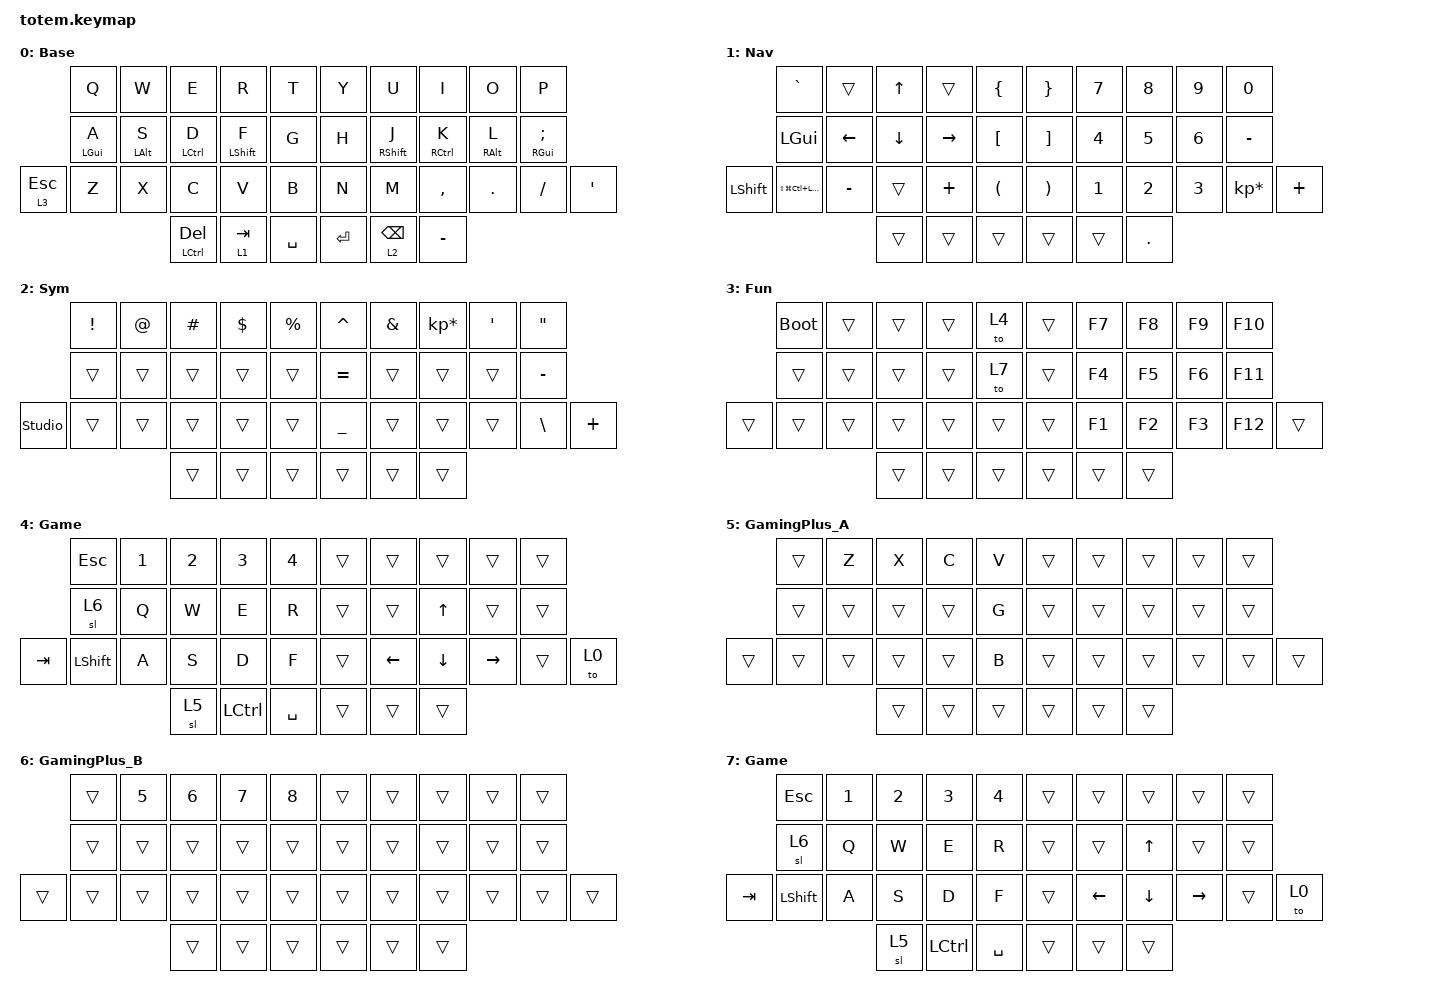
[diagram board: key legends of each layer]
//
//                                                        ▀▀▀▀▀     ▀▀▀▀▀          ▀▀█▀▀
//                                                        ▄▀▀▀▄  ▄  ▄▀▀▀▄  ▄  ▄▀▀▀▄  █  ▄▀▀▀▄
//                                                        █   █  █  █   █  █  █   █  █  █   █
//                                                         ▀▀▀   █   ▀▀▀   █   ▀▀▀   ▀   ▀▀▀
//                                                               █      ▄▄▄█▄▄▄    █   █  
//                                                               ▀      █  █  █     █▄█
//                                                             ▀▀▀▀▀    █  █  █      ▀
//                                                                      ▀  ▀  ▀
//
// ▄▄▄▄▄▄▄▄▄▄▄▄▄▄▄▄▄▄▄▄▄▄▄▄▄▄▄▄▄▄▄▄▄▄▄▄▄▄▄▄▄▄▄▄▄▄▄▄▄▄▄▄▄▄▄▄▄▄▄▄▄▄▄▄▄▄▄▄▄▄▄▄▄▄▄▄▄▄▄▄▄▄▄▄▄▄▄▄▄▄▄▄▄▄▄▄▄▄▄▄▄▄▄▄▄▄▄▄▄▄▄▄▄▄▄▄▄▄▄▄▄▄▄▄▄▄▄▄▄▄▄▄▄▄▄▄▄▄▄▄▄▄▄▄▄▄▄▄▄

#include <behaviors.dtsi>
#include <dt-bindings/zmk/keys.h>

#define Base        0
#define Nav         1
#define Sym         2
#define Fun         3
#define Game        4
#define Gameplus    5

&mt {
    quick-tap-ms = <100>;
    global-quick-tap;
    flavor = "tap-preferred";
    tapping-term-ms = <170>;
};

&lt {
    tapping-term-ms = <240>;
    flavor = "balanced";
    quick-tap-ms = <150>;
};

/ {
    behaviors {
        hm: homerow_mods {
            compatible = "zmk,behavior-hold-tap";
            label = "HOMEROW_MODS";
            #binding-cells = <2>;
            flavor = "tap-preferred";
            tapping-term-ms = <200>;
            quick-tap-ms = <125>;
            global-quick-tap;
            bindings = <&kp>, <&kp>;
        };
    };

    combos { compatible = "zmk,combos"; };

    keymap {
        compatible = "zmk,keymap";

        Base {
            display-name = "Base";
            bindings = <
              &kp Q       &kp W       &kp E          &kp R         &kp T        &kp Y    &kp U        &kp I        &kp O       &kp P
              &hm LGUI A  &hm LALT S  &hm LCTRL D    &hm LSHIFT F  &kp G        &kp H    &hm RSHFT J  &hm RCTRL K  &hm RALT L  &hm RGUI SEMICOLON
&lt 3 ESCAPE  &kp Z       &kp X       &kp C          &kp V         &kp B        &kp N    &kp M        &kp COMMA    &kp DOT     &kp SLASH           &kp APOSTROPHE
                                      &mt LCTRL DEL  &lt 1 TAB     &kp SPACE    &kp RET  &lt 2 BSPC   &kp MINUS
            >;
        };

        Nav {
            display-name = "Nav";
            bindings = <
                &kp GRAVE                     &trans     &kp UP_ARROW  &trans     &kp LBRC    &kp RBRC  &kp NUMBER_7  &kp NUMBER_8  &kp NUMBER_9  &kp NUMBER_0
                &kp LEFT_GUI                  &kp LEFT   &kp DOWN      &kp RIGHT  &kp LBKT    &kp RBKT  &kp NUMBER_4  &kp NUMBER_5  &kp NUMBER_6  &kp MINUS
&kp LEFT_SHIFT  &kp LS(LG(LC(LEFT_CONTROL)))  &kp MINUS  &trans        &kp PLUS   &kp LPAR    &kp RPAR  &kp NUMBER_1  &kp NUMBER_2  &kp NUMBER_3  &kp KP_MULTIPLY  &kp PLUS
                                                         &trans        &trans     &trans      &trans    &trans        &kp DOT
            >;
        };

        Sym {
            display-name = "Sym";
            bindings = <
                &kp EXCL  &kp AT  &kp HASH  &kp DOLLAR  &kp PERCENT    &kp CARET  &kp AMPERSAND  &kp KP_ASTERISK  &kp SQT  &kp DQT
                &trans    &trans  &trans    &trans      &trans         &kp EQUAL  &trans         &trans           &trans   &kp MINUS
&studio_unlock  &trans    &trans  &trans    &trans      &trans         &kp UNDER  &trans         &trans           &trans   &kp BACKSLASH  &kp PLUS
                                  &trans    &trans      &trans         &trans     &trans         &trans
            >;
        };

        Fun {
            display-name = "Fun";
            bindings = <
        &bootloader  &trans  &trans  &trans  &to 4     &trans  &kp F7  &kp F8  &kp F9  &kp F10
        &trans       &trans  &trans  &trans  &to 7     &trans  &kp F4  &kp F5  &kp F6  &kp F11
&trans  &trans       &trans  &trans  &trans  &trans    &trans  &kp F1  &kp F2  &kp F3  &kp F12  &trans
                             &trans  &trans  &trans    &trans  &trans  &trans
            >;
        };

        Gaming {
            display-name = "Game";
            bindings = <
         &kp ESC         &kp NUMBER_1  &kp NUMBER_2  &kp NUMBER_3  &kp NUMBER_4    &trans  &trans    &trans    &trans     &trans
         &sl 6           &kp Q         &kp W         &kp E         &kp R           &trans  &trans    &kp UP    &trans     &trans
&kp TAB  &kp LEFT_SHIFT  &kp A         &kp S         &kp D         &kp F           &trans  &kp LEFT  &kp DOWN  &kp RIGHT  &trans  &to 0
                                       &sl 5         &kp LCTRL     &kp SPACE       &trans  &trans    &trans
            >;
        };

        GamingPlus_A {
            bindings = <
        &trans  &kp Z   &kp X   &kp C   &kp V     &trans  &trans  &trans  &trans  &trans
        &trans  &trans  &trans  &trans  &kp G     &trans  &trans  &trans  &trans  &trans
&trans  &trans  &trans  &trans  &trans  &kp B     &trans  &trans  &trans  &trans  &trans  &trans
                        &trans  &trans  &trans    &trans  &trans  &trans
            >;
        };

        GamingPlus_B {
            bindings = <
        &trans  &kp N5  &kp NUMBER_6  &kp NUMBER_7  &kp NUMBER_8    &trans  &trans  &trans  &trans  &trans
        &trans  &trans  &trans        &trans        &trans          &trans  &trans  &trans  &trans  &trans
&trans  &trans  &trans  &trans        &trans        &trans          &trans  &trans  &trans  &trans  &trans  &trans
                        &trans        &trans        &trans          &trans  &trans  &trans
            >;
        };

        Maplestory {
            display-name = "Game";
            bindings = <
         &kp ESC         &kp NUMBER_1  &kp NUMBER_2  &kp NUMBER_3  &kp NUMBER_4    &trans  &trans          &trans          &trans           &trans
         &sl 6           &kp Q         &kp W         &kp E         &kp R           &trans  &trans          &kp UP_ARROW    &trans           &trans
&kp TAB  &kp LEFT_SHIFT  &kp A         &kp S         &kp D         &kp F           &trans  &kp LEFT_ARROW  &kp DOWN_ARROW  &kp RIGHT_ARROW  &trans  &to 0
                                       &sl 5         &kp LCTRL     &kp SPACE       &trans  &trans          &trans
            >;
        };
    };
};
